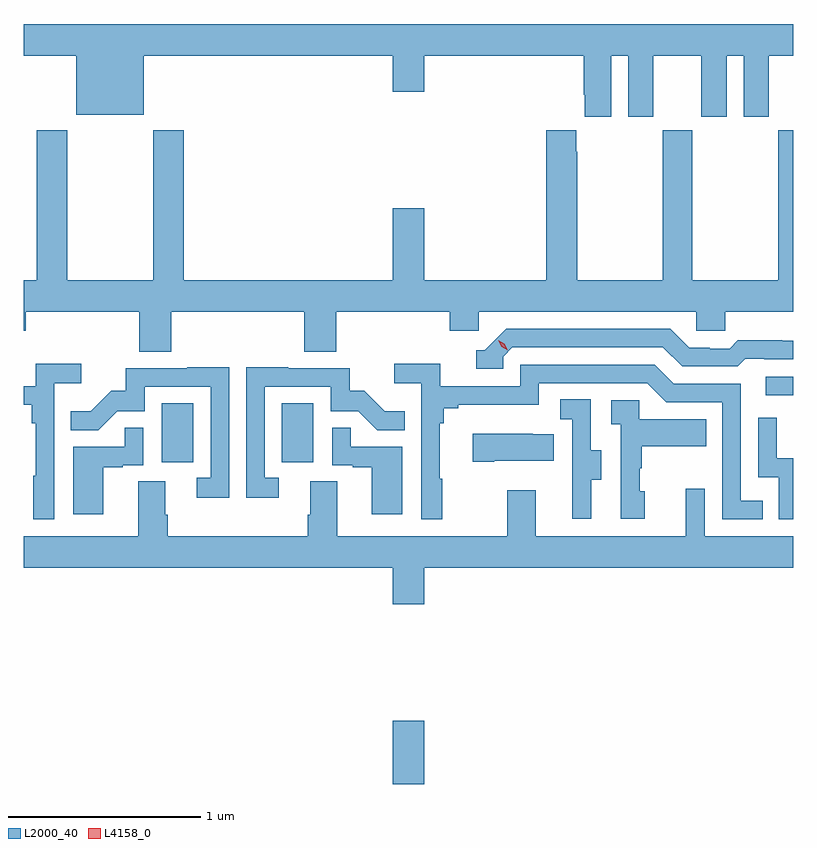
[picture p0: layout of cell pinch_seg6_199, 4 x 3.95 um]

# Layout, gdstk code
import gdstk
lib = gdstk.Library(unit=1e-6, precision=1e-09)
def R(c, l, rs):  # rectangles x0, y0, x1, y1
    for r in rs: c.add(gdstk.rectangle(r[:2], r[2:], *l))
def P(c, l, *ps):  # polygons
    for p in ps: c.add(gdstk.Polygon(p, *l))
L2000_40 = (2000, 40)
L4158_0 = (4158, 0)

pinch_seg6_199 = lib.new_cell('pinch_seg6_199')
R(pinch_seg6_199, L2000_40, [(1028.144,932.893,1028.308,933.223), (1026.944,934.566,1027.108,934.873), (1027.568,934.566,1027.732,934.873), (1030.083,934.914,1030.226,935.01)])
P(pinch_seg6_199, L2000_40, [(1026.226,936.68),(1026.5,936.68),(1026.5,936.371),(1026.85,936.371),(1026.85,936.68),(1028.144,936.68),(1028.144,936.492),(1028.308,936.492),(1028.308,936.68),(1029.137,936.68),(1029.137,936.475),(1029.143,936.475),(1029.143,936.363),(1029.28,936.363),(1029.28,936.68),(1029.368,936.68),(1029.368,936.363),(1029.499,936.363),(1029.499,936.68),(1029.749,936.68),(1029.749,936.363),(1029.88,936.363),(1029.88,936.68),(1029.968,936.68),(1029.968,936.363),(1030.099,936.363),(1030.099,936.68),(1030.226,936.68),(1030.226,936.844),(1026.226,936.844)],
  [(1026.992,935.348),(1027.685,935.348),(1027.685,935.14),(1027.85,935.14),(1027.85,935.348),(1028.441,935.348),(1028.441,935.25),(1028.592,935.25),(1028.592,935.348),(1029.723,935.348),(1029.723,935.25),(1029.873,935.25),(1029.873,935.348),(1030.226,935.348),(1030.226,936.292),(1030.147,936.292),(1030.147,935.512),(1029.702,935.512),(1029.702,936.292),(1029.547,936.292),(1029.547,935.512),(1029.102,935.512),(1029.102,936.179),(1029.097,936.179),(1029.097,936.292),(1028.942,936.292),(1028.942,935.512),(1028.308,935.512),(1028.308,935.887),(1028.144,935.887),(1028.144,935.512),(1027.058,935.512),(1027.058,936.292),(1026.898,936.292),(1026.898,935.512),(1026.453,935.512),(1026.453,936.292),(1026.293,936.292),(1026.293,935.512),(1026.226,935.512),(1026.226,935.25),(1026.236,935.25),(1026.236,935.348),(1026.827,935.348),(1026.827,935.14),(1026.992,935.14)],
  [(1028.718,935.115),(1028.766,935.163),(1029.549,935.163),(1029.648,935.064),(1029.937,935.064),(1029.976,935.103),(1030.075,935.103),(1030.075,935.1),(1030.226,935.1),(1030.226,935.197),(1030.17,935.197),(1030.17,935.2),(1029.937,935.2),(1029.895,935.157),(1029.792,935.157),(1029.792,935.16),(1029.685,935.16),(1029.586,935.259),(1028.733,935.259),(1028.622,935.148),(1028.579,935.148),(1028.579,935.052),(1028.718,935.052)],
  [(1028.401,934.481),(1028.389,934.481),(1028.389,934.769),(1028.408,934.769),(1028.408,934.846),(1028.485,934.846),(1028.485,934.865),(1028.904,934.865),(1028.904,934.977),(1029.468,934.977),(1029.567,934.878),(1029.858,934.878),(1029.858,934.269),(1030.067,934.269),(1030.067,934.365),(1029.954,934.365),(1029.954,934.974),(1029.604,934.974),(1029.505,935.073),(1028.808,935.073),(1028.808,934.962),(1028.39,934.962),(1028.39,935.078),(1028.151,935.078),(1028.151,934.976),(1028.292,934.976),(1028.292,934.269),(1028.401,934.269)],
  [(1026.384,934.976),(1026.526,934.976),(1026.526,935.078),(1026.287,935.078),(1026.287,934.962),(1026.226,934.962),(1026.226,934.865),(1026.268,934.865),(1026.268,934.769),(1026.288,934.769),(1026.288,934.496),(1026.276,934.496),(1026.276,934.269),(1026.384,934.269)],
  [(1027.293,935.06),(1027.075,935.06),(1027.075,935.055),(1026.757,935.055),(1026.757,934.938),(1026.68,934.938),(1026.573,934.831),(1026.469,934.831),(1026.469,934.732),(1026.613,934.732),(1026.711,934.83),(1026.855,934.83),(1026.855,934.959),(1027.197,934.959),(1027.197,934.485),(1027.125,934.485),(1027.125,934.38),(1027.293,934.38)],
  [(1027.552,934.485),(1027.479,934.485),(1027.479,934.959),(1027.821,934.959),(1027.821,934.83),(1027.965,934.83),(1028.063,934.732),(1028.207,934.732),(1028.207,934.831),(1028.103,934.831),(1027.996,934.938),(1027.92,934.938),(1027.92,935.055),(1027.601,935.055),(1027.601,935.06),(1027.383,935.06),(1027.383,934.38),(1027.552,934.38)],
  [(1029.175,934.474),(1029.229,934.474),(1029.229,934.629),(1029.174,934.629),(1029.174,934.892),(1029.015,934.892),(1029.015,934.789),(1029.078,934.789),(1029.078,934.485),(1029.077,934.485),(1029.077,934.272),(1029.175,934.272)],
  [(1029.454,934.416),(1029.429,934.416),(1029.429,934.535),(1029.439,934.535),(1029.439,934.649),(1029.773,934.649),(1029.773,934.789),(1029.426,934.789),(1029.426,934.887),(1029.279,934.887),(1029.279,934.763),(1029.33,934.763),(1029.33,934.272),(1029.454,934.272)],
  [(1030.226,934.586),(1030.14,934.586),(1030.14,934.798),(1030.044,934.798),(1030.044,934.488),(1030.152,934.488),(1030.152,934.269),(1030.226,934.269)],
  [(1026.64,934.539),(1026.74,934.539),(1026.74,934.551),(1026.846,934.551),(1026.846,934.745),(1026.751,934.745),(1026.751,934.647),(1026.482,934.647),(1026.482,934.296),(1026.64,934.296)],
  [(1028.194,934.647),(1027.925,934.647),(1027.925,934.745),(1027.83,934.745),(1027.83,934.551),(1027.937,934.551),(1027.937,934.539),(1028.036,934.539),(1028.036,934.296),(1028.194,934.296)],
  [(1028.671,934.574),(1028.981,934.574),(1028.981,934.711),(1028.873,934.711),(1028.873,934.714),(1028.559,934.714),(1028.559,934.567),(1028.671,934.567)],
  [(1028.308,934.016),(1030.226,934.016),(1030.226,934.18),(1029.765,934.18),(1029.765,934.429),(1029.668,934.429),(1029.668,934.18),(1028.887,934.18),(1028.887,934.42),(1028.74,934.42),(1028.74,934.18),(1027.855,934.18),(1027.855,934.466),(1027.715,934.466),(1027.715,934.292),(1027.703,934.292),(1027.703,934.18),(1026.974,934.18),(1026.974,934.292),(1026.961,934.292),(1026.961,934.466),(1026.821,934.466),(1026.821,934.18),(1026.226,934.18),(1026.226,934.016),(1028.144,934.016),(1028.144,933.828),(1028.308,933.828)])
P(pinch_seg6_199, L4158_0, [(1028.741,935.148),(1028.71,935.167),(1028.693,935.2),(1028.693,935.2),(1028.693,935.2),(1028.724,935.181),(1028.741,935.148),(1028.741,935.148)])

lib.write_gds('pinch_seg6_199.gds')
